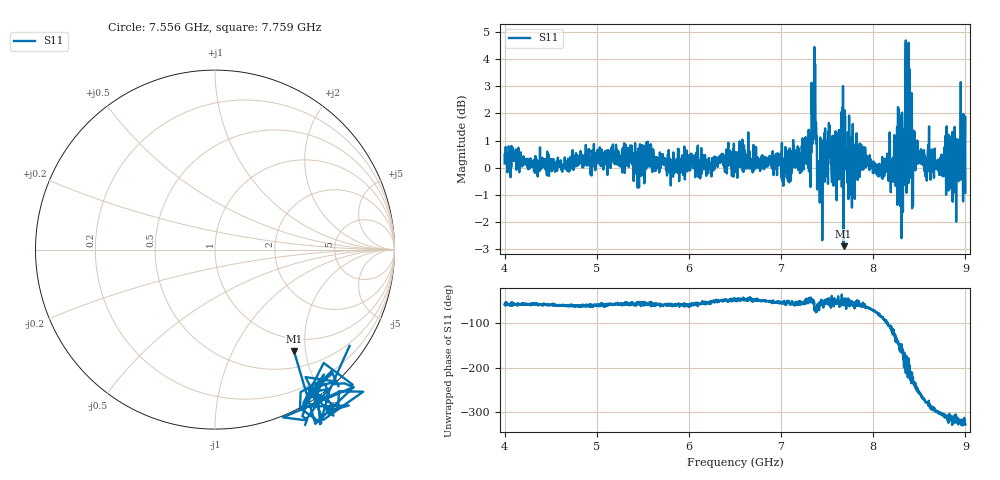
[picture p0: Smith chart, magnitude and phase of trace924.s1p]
! Created with skrf 1.8.0 (http://scikit-rf.org).
# Hz S RI R 50.0
!freq ReS11 ImS11
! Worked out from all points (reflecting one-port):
!   1601 points, 4 GHz to 9 GHz, reference 50 ohm
!   lowest |S11| = -2.9 dB at 7.678 GHz (marker M1), VSWR 6.05, Z = 38.4 - j89.3 ohm
!   phase of S11 starts at -57 deg and turns -270 deg over the sweep
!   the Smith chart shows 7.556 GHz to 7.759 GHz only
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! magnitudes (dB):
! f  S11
! 4 GHz  0.2
! 4.625 GHz  -0.2
! 5.25 GHz  0.0
! 5.875 GHz  0.0
! 6.5 GHz  0.3
! 7.125 GHz  0.0
! 7.303 GHz  -0.1
! 7.356 GHz  2.9
! 7.388 GHz  1.2
! 7.397 GHz  -0.2
! 7.428 GHz  -0.3
! 7.503 GHz  0.5
! 7.622 GHz  -0.4
! 7.65 GHz  1.2
! 7.678 GHz  -2.9
! 7.75 GHz  0.2
! 7.878 GHz  0.2
! 8.209 GHz  0.1
! 8.259 GHz  1.5
! 8.312 GHz  2.0
! 8.334 GHz  1.4
! 8.347 GHz  2.3
! 8.375 GHz  0.0
! 8.381 GHz  -0.6
! 8.447 GHz  1.3
! 8.9 GHz  -2.0
! 8.972 GHz  0.1
! 9 GHz  -0.9
